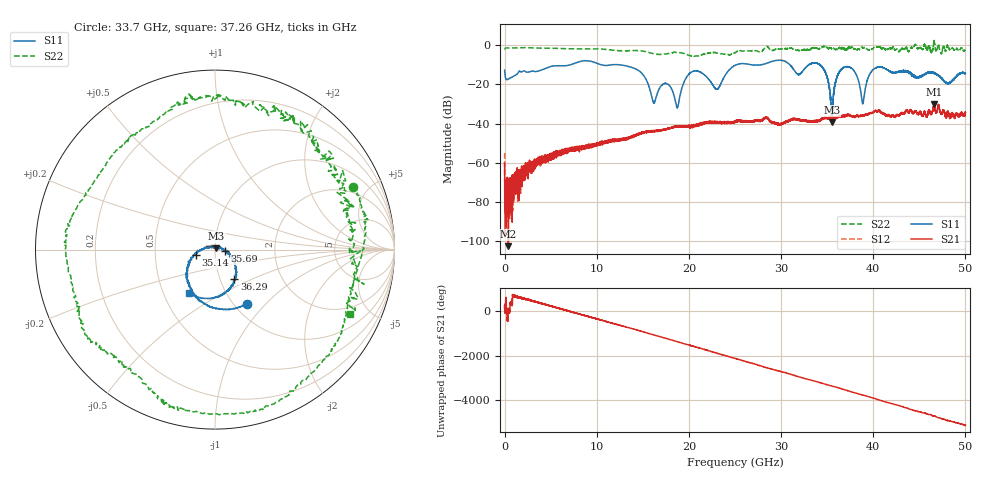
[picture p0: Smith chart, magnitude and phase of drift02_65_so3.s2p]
!Created with skrf (http://scikit-rf.org).
# Hz S RI R 50.0
!freq ReS11 ImS11 ReS21 ImS21 ReS12 ImS12 ReS22 ImS22
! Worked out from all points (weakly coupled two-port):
!   10001 points, 300 kHz to 50 GHz, reference 50 ohm
!   highest |S21| = -30.03 dB at 46.59 GHz (marker M1); lowest = -102.5 dB at 410.3 MHz (marker M2)
!   lowest |S11| = -39.3 dB at 35.54 GHz (marker M3), VSWR 1.02, Z = 50.7 + j0.802 ohm
!   |S11| at or under -10 dB: start of sweep to 7.18 GHz; 12.34 GHz to 25.16 GHz (12.83 GHz wide, 68.4 % of centre); 34.22 GHz to end of sweep (the widest 3 of 14)
!   |S22| runs from -5.7 to 2.4 dB; largest |S21 - S12| = 0.0049
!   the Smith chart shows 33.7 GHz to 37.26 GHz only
!   S11 on the Smith chart (normalised r, x): 33.7 GHz: 1.14, -0.79; 35.14 GHz: 0.81, -0.05; 35.69 GHz: 1.12, -0.02; 36.29 GHz: 1.17, -0.40; 37.26 GHz: 0.67, -0.35
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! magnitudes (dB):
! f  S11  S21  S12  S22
! 300 kHz  -12.8  -60.2  -55.1  -2.1
! 410.3 MHz  -17.3  -102.5  -84.0  -1.5
! 8.335 GHz  -8.2  -52.4  -52.6  -1.9
! 14.03 GHz  -11.8  -46.2  -46.4  -2.8
! 16.15 GHz  -29.3  -43.5  -44.0  -4.5
! 16.67 GHz  -23.4  -43.7  -43.5  -4.7
! 18.74 GHz  -31.8  -41.3  -41.3  -3.7
! 20.23 GHz  -13.9  -41.8  -41.6  -5.5
! 23.04 GHz  -22.6  -39.2  -39.1  -4.1
! 25 GHz  -10.3  -38.9  -39.4  -3.9
! 33.34 GHz  -9.3  -38.8  -38.5  -1.5
! 33.7 GHz  -9.1  -38.8  -38.5  -1.4
! 35.14 GHz  -19.2  -37.1  -37.2  -1.7
! 35.54 GHz  -39.3  -36.9  -37.0  -1.7
! 35.69 GHz  -24.9  -36.6  -36.9  -1.6
! 36.29 GHz  -14.1  -36.6  -36.4  -1.6
! 37.26 GHz  -11.0  -35.5  -35.6  -1.6
! 38.86 GHz  -29.9  -36.0  -36.1  -1.4
! 39.96 GHz  -12.7  -34.4  -34.5  -1.9
! 41.67 GHz  -12.9  -35.6  -36.0  -1.9
! 46.59 GHz  -14.2  -30.0  -30.3  2.1
! 50 GHz  -14.5  -34.5  -34.3  -2.7
